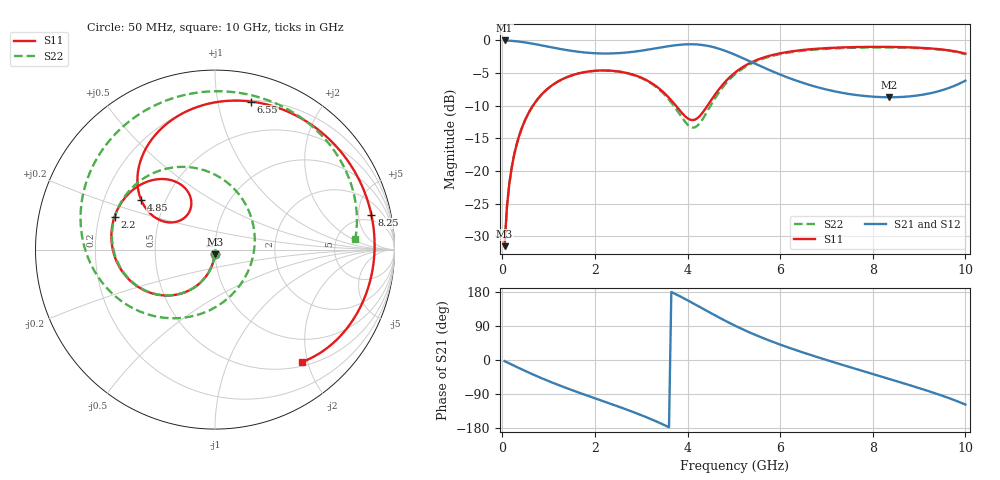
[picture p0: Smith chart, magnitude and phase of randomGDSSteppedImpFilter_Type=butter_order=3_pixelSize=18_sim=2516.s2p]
! freq	dB(S11)	phase(S11)	dB(S12)	phase(S12)
!  dB(S21)	phase(S21)	dB(S22)	phase(S22)
!S-par simulation data
#  GHz  S  DB  R 50
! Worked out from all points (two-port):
!   200 points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, 50 MHz to 10 GHz, reference 50 ohm
!   highest |S21| = -0.01 dB at 50 MHz (marker M1); lowest = -8.7 dB at 8.35 GHz (marker M2)
!   |S21| within 3 dB of the highest: start of sweep to 5.287 GHz
!   lowest |S11| = -31.5 dB at 50 MHz (marker M3), VSWR 1.05, Z = 49.8 - j2.64 ohm
!   |S11| at or under -10 dB: start of sweep to 662 MHz; 3.748 GHz to 4.431 GHz (682.4 MHz wide, 16.7 % of centre)
!   |S22| runs from -31.5 to -1.1 dB; largest |S21 - S12| = 0
!   S11 on the Smith chart (normalised r, x): 50 MHz: 1.00, -0.05; 2.2 GHz: 0.26, +0.15; 4.85 GHz: 0.36, +0.27; 6.55 GHz: 0.21, +1.25; 8.25 GHz: 3.77, +7.17; 10 GHz: 0.57, -1.90
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0.05  -31.51 -93.2  -0.01 -3.0  -0.01 -3.0  -31.51 -93.2
0.1  -25.52 -96.3  -0.02 -6.0  -0.02 -6.0  -25.52 -96.3
0.2  -19.59 -102.4  -0.07 -11.9  -0.07 -11.9  -19.59 -102.4
0.5  -12.09 -119.7  -0.32 -29.2  -0.32 -29.2  -12.09 -119.7
1.05  -7.01 -148.6  -1.04 -58.2  -1.04 -58.2  -7.01 -148.9
1.75  -4.89 -180.0  -1.83 -90.3  -1.83 -90.3  -4.90 178.4
2.2  -4.60 161.8  -2.01 -109.6  -2.01 -109.6  -4.61 158.2
2.9  -5.42 135.2  -1.67 -140.7  -1.67 -140.7  -5.47 123.3
3.4  -7.44 119.0  -1.11 -166.1  -1.11 -166.1  -7.60 89.8
3.75  -10.02 115.3  -0.73 173.5  -0.73 173.5  -10.47 54.0
4.1  -12.20 131.9  -0.59 151.0  -0.59 151.0  -13.34 -9.8
4.5  -9.26 151.8  -0.93 124.0  -0.93 124.0  -9.96 -88.5
4.85  -6.07 146.0  -1.69 101.3  -1.69 101.3  -6.41 -127.6
5.05  -4.79 138.7  -2.26 89.1  -2.26 89.1  -5.04 -144.0
5.75  -2.39 109.0  -4.48 52.1  -4.48 52.1  -2.53 173.4
6.55  -1.42 76.3  -6.64 17.6  -6.64 17.6  -1.53 138.3
6.7  -1.33 70.4  -6.96 11.6  -6.96 11.6  -1.43 132.4
7.5  -1.04 40.0  -8.22 -18.6  -8.22 -18.6  -1.14 103.2
8.25  -0.99 12.5  -8.69 -46.1  -8.69 -46.1  -1.07 76.7
8.35  -0.99 8.9  -8.70 -49.8  -8.70 -49.8  -1.08 73.1
9.15  -1.18 -20.0  -8.22 -80.0  -8.22 -80.0  -1.24 43.2
10  -2.03 -52.3  -6.16 -117.6  -6.16 -117.6  -2.12 4.2
